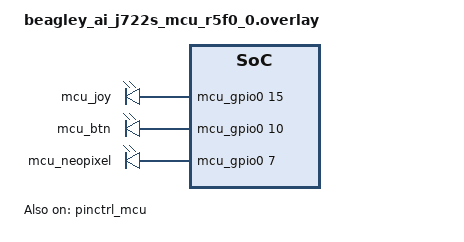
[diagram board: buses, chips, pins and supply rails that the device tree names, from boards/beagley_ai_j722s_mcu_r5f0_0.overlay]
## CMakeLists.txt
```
# SPDX-License-Identifier: Apache-2.0

cmake_minimum_required(VERSION 3.20.0)
find_package(Zephyr REQUIRED HINTS $ENV{ZEPHYR_BASE})
project(neopixel_r5)

# Add include paths (for shared memory headers)
include_directories(
  ${CMAKE_CURRENT_SOURCE_DIR}/../shared
)

# Add application source file
target_sources(app PRIVATE src/neopixel_driver.c)

target_include_directories(app PRIVATE include)
```

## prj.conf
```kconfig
# Enable the Zephyr main function (main thread)
CONFIG_MAIN_THREAD_PRIORITY=0

# # Enable logging (optional but helpful for debugging)
# CONFIG_LOG=y
# CONFIG_LOG_DEFAULT_LEVEL=1

# Enable GPIO
CONFIG_GPIO=y

# Use minimal libc (recommended for R5)
CONFIG_NEWLIB_LIBC=n
CONFIG_MINIMAL_LIBC=y
```

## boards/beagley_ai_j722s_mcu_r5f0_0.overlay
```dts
/*
 * SPDX-License-Identifier: Apache-2.0
 */

#include <zephyr/dt-bindings/gpio/gpio.h>

 / {
    aliases {
        joy0 = &mcu_joy;
        btn0 = &mcu_btn;
        neopixel = &mcu_neopixel;
    };

    leds {
        compatible = "gpio-leds";

        mcu_joy: btn_gpio5 {
            // GPIO5
            // Zen Hat maps to joystick push
            gpios = <&mcu_gpio0 15 GPIO_ACTIVE_HIGH>;
        };

        mcu_btn: btn_gpio24 {
            // GPIO24
            // Zen Hat maps to Rotary encoder's push-button
            // SoC pin C8 - Mode 7:MCU_GPIO0_10 - Address 0x04084028
            gpios = <&mcu_gpio0 10 GPIO_ACTIVE_HIGH>;
        };

        mcu_neopixel: btn_gpio23 {
            // GPIO23
            // Zen Hat maps to NeoPixel Data Out
            // SoC pin B5 - Mode 7:MCU_GPIO0_7 - Address 0x0408401C
            gpios = <&mcu_gpio0 7 GPIO_ACTIVE_HIGH>;
        };
    };

    // ADDED, but does not work.
    pinctrl_mcu: pinctrl_mcu@4084000 {
        compatible = "ti,k3-pinctrl";
        reg = <0x04084000 0x88>;
        status = "okay";
    };

};

// ADDED, but does not work.
&pinctrl_mcu {
    // TODO: Pinmux seems not to be working
    // Had to execute 
    //      gpioset gpiochip0 9=1
    //      gpioget gpiochip0 10
    //      gpioset gpiochip0 7=1
    // on clean boot to make it flash the LED and read the pin.
    mcu_gpio0_led_btn_default: mcu_gpio0_led_btn_default {
        pinmux = <K3_PINMUX(0x0014, PIN_OUTPUT, MUX_MODE_7)>; /* (B3) GPIO5*/
        pinmux = <K3_PINMUX(0x0028, PIN_INPUT,  MUX_MODE_7)>; /* (C8) GPIO24*/
        pinmux = <K3_PINMUX(0x001C, PIN_OUTPUT, MUX_MODE_7)>; /* (B5) GPIO23*/
    };
};

&mcu_gpio0 {
    pinctrl-0 = <&mcu_gpio0_led_btn_default>;
    pinctrl-names = "default";
    status = "okay";
};
```

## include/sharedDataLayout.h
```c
#ifndef _SHARED_DATA_STRUCT_H_
#define _SHARED_DATA_STRUCT_H_

#include <stdbool.h>
#include <stdint.h>

// R5 Shared Memory Note
// - Using a struct in ATCM may cause access issues, so we define raw offsets

//#define MSG_OFFSET 0
#define DEBUG_START_OFFSET 0

// Message string
#define MSG_OFFSET                 (DEBUG_START_OFFSET + sizeof(uint32_t))
#define MSG_SIZE                   32
//#define MSG_SIZE   32

#define LED_DELAY_MS_OFFSET        (MSG_OFFSET + MSG_SIZE)
#define IS_BUTTON_PRESSED_OFFSET   (LED_DELAY_MS_OFFSET + sizeof(uint32_t))
#define BTN_COUNT_OFFSET           (IS_BUTTON_PRESSED_OFFSET + sizeof(uint32_t))
#define LOOP_COUNT_OFFSET          (BTN_COUNT_OFFSET + sizeof(uint32_t))
#define IS_JOYSTICK_PRESSED_OFFSET (LOOP_COUNT_OFFSET + sizeof(uint32_t))

#define SHARED_RGB_OFFSET         (IS_JOYSTICK_PRESSED_OFFSET + sizeof(uint32_t))
#define NEO_NUM_LEDS              8

#define DEBUG_END_OFFSET          (SHARED_RGB_OFFSET + (NEO_NUM_LEDS * sizeof(uint32_t)))
#define SHARED_MEM_TOTAL_BYTES    (DEBUG_END_OFFSET + sizeof(uint32_t))

#define END_MEMORY_OFFSET          (LOOP_COUNT_OFFSET + sizeof(uint32_t))

#define MEM_UINT8(addr) *(uint8_t*)(addr)
#define MEM_UINT32(addr) *(uint32_t*)(addr)

// // NeoPixel LED Strip
// #define SHARED_RGB_OFFSET          (END_MEMORY_OFFSET)
// #define NEO_NUM_LEDS               8
// #define SHARED_MEM_TOTAL_BYTES     (SHARED_RGB_OFFSET + (NEO_NUM_LEDS * sizeof(uint32_t)))

// // Debug tail offset (optional second debug value)
// #define DEBUG_END_OFFSET           SHARED_MEM_TOTAL_BYTES

// // Helper macros for low-level memory access (if needed)
// #define MEM_UINT8(addr)  (*(uint8_t *)(addr))
// #define MEM_UINT32(addr) (*(uint32_t *)(addr))

#endif // _SHARED_DATA_STRUCT_H_
```

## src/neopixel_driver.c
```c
// R5 NeoPixel Controller (Shared Memory Version)
// Reads LED colors from shared memory and drives NeoPixel strip
// Contains gpio rotary encoder as well to control button pressing

#include <stdio.h>
#include <stdlib.h>
#include <zephyr/kernel.h>
#include <zephyr/drivers/gpio.h>
#include <string.h>
#include "sharedDataLayout.h"

#define NEO_NUM_LEDS 8
#define SHARED_MEM 0x00000000
static void *pSharedMem = (void *) SHARED_MEM;

// NeoPixel Timing Delays
#define NEO_ONE_ON_NS  700
#define NEO_ONE_OFF_NS 600
#define NEO_ZERO_ON_NS 350
#define NEO_ZERO_OFF_NS 800
#define NEO_RESET_NS   60000

volatile int junk_delay = 0;
#define DELAY_350_NS() {}
#define DELAY_600_NS() {for (junk_delay=0; junk_delay<9 ;junk_delay++);}
#define DELAY_700_NS() {for (junk_delay=0; junk_delay<16 ;junk_delay++);}
#define DELAY_800_NS() {for (junk_delay=0; junk_delay<23 ;junk_delay++);}
#define DELAY_NS(ns) do {int target = k_cycle_get_32() + k_ns_to_cyc_near32(ns); \
	while(k_cycle_get_32() < target); } while(false)

#define NEO_DELAY_ONE_ON()     DELAY_700_NS()
#define NEO_DELAY_ONE_OFF()    DELAY_600_NS()
#define NEO_DELAY_ZERO_ON()    DELAY_350_NS()
#define NEO_DELAY_ZERO_OFF()   DELAY_800_NS()
#define NEO_DELAY_RESET()      { DELAY_NS(NEO_RESET_NS); }

#define LED0_NODE DT_ALIAS(joy0)
#define BTN0_NODE DT_ALIAS(btn0)
#define NEOPIXEL_NODE DT_ALIAS(neopixel)

static const struct gpio_dt_spec joy = GPIO_DT_SPEC_GET(LED0_NODE, gpios);
static const struct gpio_dt_spec btn = GPIO_DT_SPEC_GET(BTN0_NODE, gpios);
static const struct gpio_dt_spec neopixel = GPIO_DT_SPEC_GET(NEOPIXEL_NODE, gpios);

static void initialize_gpio(const struct gpio_dt_spec *pPin, int direction) {
	if (!gpio_is_ready_dt(pPin)) {
		printf("ERROR: GPIO not ready\n");
		exit(EXIT_FAILURE);
	}
	if (gpio_pin_configure_dt(pPin, direction) < 0) {
		printf("ERROR: Failed to configure GPIO\n");
		exit(EXIT_FAILURE);
	}
}

int main(void) {
	//printf("R5 NeoPixel Shared Memory Driver\n");
	initialize_gpio(&neopixel, GPIO_OUTPUT_ACTIVE);
	initialize_gpio(&btn, GPIO_INPUT);
	initialize_gpio(&joy, GPIO_INPUT);

	//printf("Contents of Shared Memory ATCM:\n");
	for (int i = 0; i < END_MEMORY_OFFSET; i++) {
		char* addr = (char*)pSharedMem + i;
		printf("0x%08x = %2x (%c)\n", (uint32_t) addr, *addr, *addr);
	}

	MEM_UINT32(IS_BUTTON_PRESSED_OFFSET) = 0;

	static bool last_joy_state = false;

	while (true) {
		int state = gpio_pin_get_dt(&btn);
		bool isPressed = state == 0;
		
		gpio_pin_set_dt(&neopixel, 0);
		DELAY_NS(NEO_RESET_NS);

		for (int j = 0; j < NEO_NUM_LEDS; j++) {
			uint32_t* sharedRgbBase = (uint32_t*)((uint8_t*)pSharedMem + SHARED_RGB_OFFSET);
			uint32_t color = sharedRgbBase[j];
			for (int i = 31; i >= 0; i--) {
				if (color & ((uint32_t)1 << i)) {
					gpio_pin_set_dt(&neopixel, 1);
					NEO_DELAY_ONE_ON();
					gpio_pin_set_dt(&neopixel, 0);
					NEO_DELAY_ONE_OFF();
				} else {
					gpio_pin_set_dt(&neopixel, 1);
					NEO_DELAY_ZERO_ON();
					gpio_pin_set_dt(&neopixel, 0);
					NEO_DELAY_ZERO_OFF();
				}
			}
		}
		
		MEM_UINT32(IS_BUTTON_PRESSED_OFFSET) = isPressed;
		gpio_pin_set_dt(&neopixel, 0);
		NEO_DELAY_RESET();
	}
	return 0;
}
```
